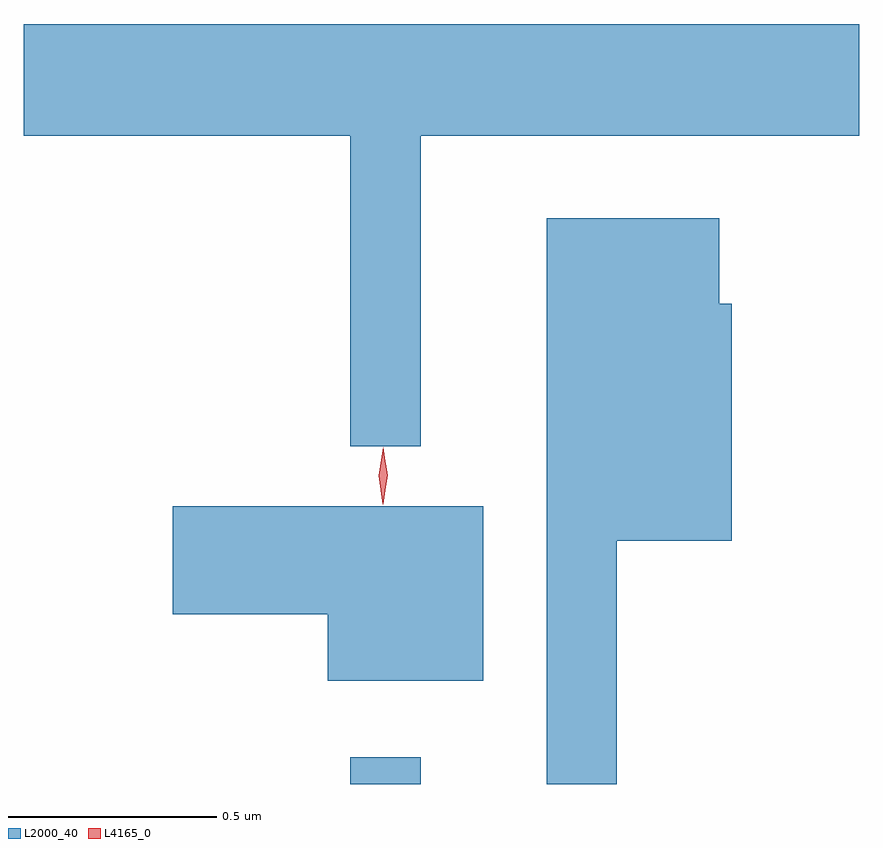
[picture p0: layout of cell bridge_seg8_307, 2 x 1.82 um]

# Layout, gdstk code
import gdstk
lib = gdstk.Library(unit=1e-6, precision=1e-09)
def R(c, l, rs):  # rectangles x0, y0, x1, y1
    for r in rs: c.add(gdstk.rectangle(r[:2], r[2:], *l))
def P(c, l, *ps):  # polygons
    for p in ps: c.add(gdstk.Polygon(p, *l))
L2000_40 = (2000, 40)
L4165_0 = (4165, 0)

bridge_seg8_307 = lib.new_cell('bridge_seg8_307')
R(bridge_seg8_307, L2000_40, [(1379.371,1863.724,1379.539,1863.788)])
P(bridge_seg8_307, L2000_40, [(1379.539,1865.276),(1380.589,1865.276),(1380.589,1865.544),(1378.589,1865.544),(1378.589,1865.276),(1379.371,1865.276),(1379.371,1864.533),(1379.539,1864.533)],
  [(1380.009,1864.306),(1380.284,1864.306),(1380.284,1864.874),(1380.254,1864.874),(1380.254,1865.079),(1379.841,1865.079),(1379.841,1863.724),(1380.009,1863.724)],
  [(1379.689,1864.389),(1378.946,1864.389),(1378.946,1864.131),(1379.316,1864.131),(1379.316,1863.971),(1379.689,1863.971)])
P(bridge_seg8_307, L4165_0, [(1379.449,1864.4),(1379.44,1864.463),(1379.449,1864.526),(1379.45,1864.527),(1379.45,1864.526),(1379.46,1864.463),(1379.45,1864.4),(1379.45,1864.4)],
  [(1379.448,1864.394),(1379.448,1864.394),(1379.439,1864.462),(1379.449,1864.53),(1379.45,1864.53),(1379.45,1864.53),(1379.459,1864.462),(1379.449,1864.394)])

lib.write_gds('bridge_seg8_307.gds')
